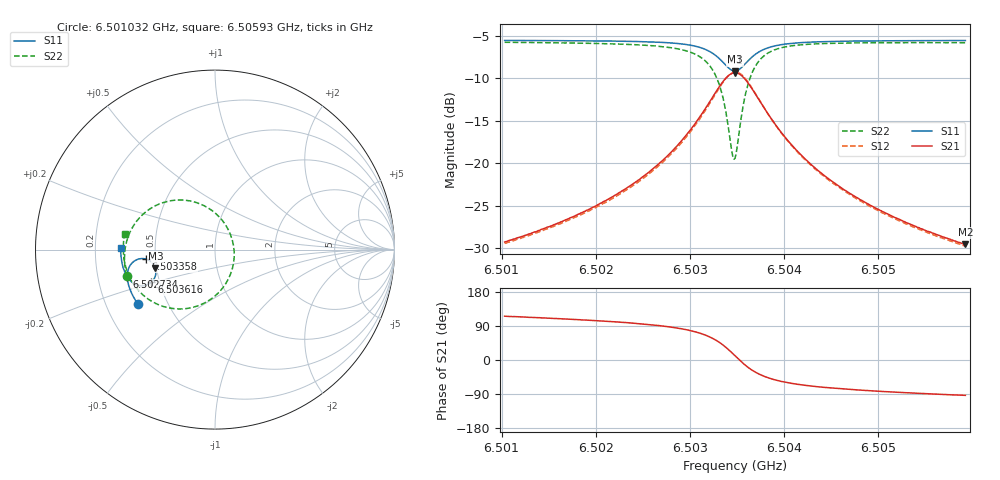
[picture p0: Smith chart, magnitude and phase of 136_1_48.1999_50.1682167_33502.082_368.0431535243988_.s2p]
#  HZ  S  RI  R  50.00
! Rohde & Schwarz Vector Network Analyzer
! Rohde-Schwarz,ZNB20-2Port,1311601062101988,3.16
! Created: UTC 3/20/2024, 11:42:06 AM
! freq[Hz]  re:S11  im:S11  re:S21  im:S21  re:S12  im:S12  re:S22  im:S22
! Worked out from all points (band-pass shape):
!   401 points, 6.501032 GHz to 6.50593 GHz, reference 50 ohm
!   highest |S21| = -9.37 dB at 6.503481 GHz (marker M1); lowest = -29.5 dB at 6.50593 GHz (marker M2)
!   |S21| within 3 dB of the highest: 6.503235 GHz to 6.503725 GHz (490.2 kHz wide, 0.00754 % of centre)
!   lowest |S11| = -9.2 dB at 6.503481 GHz (marker M3), VSWR 2.07, Z = 24.6 - j5.82 ohm
!   |S11| at or under -10 dB: nowhere
!   |S22| runs from -19.5 to -5.8 dB; largest |S21 - S12| = 0.012
!   S11 on the Smith chart (normalised r, x): 6.501032 GHz: 0.34, -0.28; 6.502734 GHz: 0.33, -0.14; 6.503358 GHz: 0.44, -0.05; 6.503616 GHz: 0.45, -0.19; 6.50593 GHz: 0.31, +0.01
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6.5010319e9  -0.43 -0.3039  -0.0149 0.0311  -0.0131 0.0311  -0.4925 -0.1461
6.5018523e9  -0.4647 -0.2424  -0.014 0.0493  -0.0115 0.0488  -0.5042 -0.057
6.5023176e9  -0.4807 -0.2004  -0.0108 0.07  -0.00768 0.0687  -0.4998 0.011
6.5026727e9  -0.4885 -0.1601  -0.00145 0.0994  0.00226 0.097  -0.4791 0.0848
6.5027339e9  -0.489 -0.1518  0.00173 0.1067  0.00555 0.104  -0.4721 0.101
6.5029543e9  -0.4854 -0.1168  0.0241 0.1422  0.0277 0.1378  -0.4254 0.1722
6.5031135e9  -0.4706 -0.0845  0.0638 0.1784  0.0667 0.1725  -0.3478 0.2358
6.5032604e9  -0.4326 -0.055  0.1462 0.2072  0.1469 0.2008  -0.1979 0.2765
6.5033094e9  -0.4112 -0.0501  0.189 0.2056  0.1892 0.1997  -0.1226 0.2674
6.5033584e9  -0.3858 -0.0522  0.238 0.1901  0.2381 0.1852  -0.0387 0.2323
6.5034441e9  -0.343 -0.0817  0.3163 0.1146  0.3187 0.1103  0.0862 0.0836
6.5034808e9  -0.3322 -0.1039  0.3338 0.0656  0.3373 0.06  0.1066 -0.00829
6.5035053e9  -0.3292 -0.1202  0.3371 0.0309  0.3409 0.024  0.1038 -0.0721
6.5035421e9  -0.3316 -0.1443  0.3295 -0.0193  0.3328 -0.0284  0.0758 -0.1613
6.5036155e9  -0.3539 -0.1812  0.2825 -0.0957  0.2822 -0.1072  -0.0352 -0.2841
6.5037257e9  -0.3997 -0.2014  0.1952 -0.1408  0.1897 -0.1506  -0.2121 -0.3303
6.5038849e9  -0.4469 -0.1918  0.1112 -0.1371  0.104 -0.1421  -0.3637 -0.2814
6.5040563e9  -0.4747 -0.1705  0.0655 -0.1161  0.059 -0.1181  -0.4374 -0.2144
6.5043012e9  -0.4958 -0.1406  0.0348 -0.0907  0.0298 -0.0912  -0.4817 -0.1408
6.5046563e9  -0.5112 -0.1029  0.0157 -0.0673  0.0122 -0.0669  -0.5042 -0.0671
6.5051216e9  -0.5208 -0.0594  0.00525 -0.0496  0.00288 -0.0488  -0.5108 0.00106
6.5059298e9  -0.526 0.0095  -0.00191 -0.0334  -0.00331 -0.0324  -0.5032 0.0882
